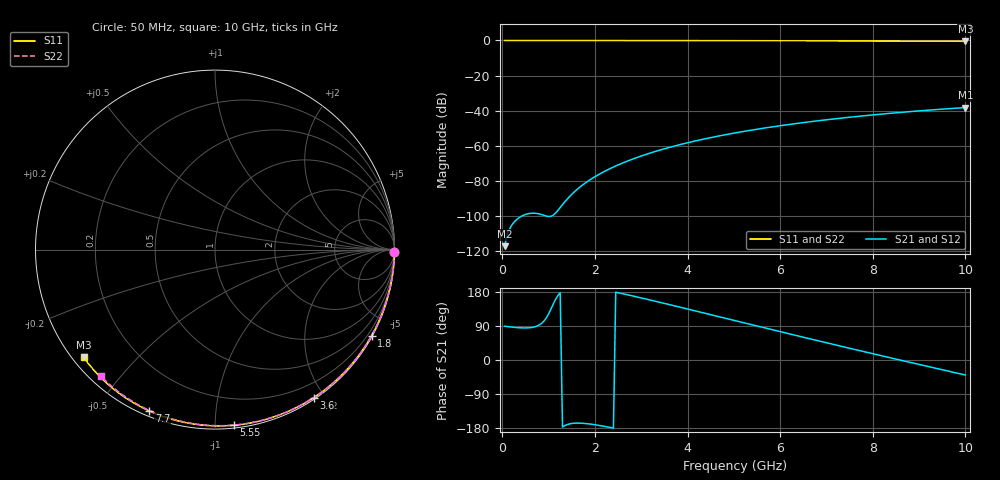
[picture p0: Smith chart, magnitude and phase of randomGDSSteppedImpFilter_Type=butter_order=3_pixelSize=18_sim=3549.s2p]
! freq	dB(S11)	phase(S11)	dB(S12)	phase(S12)
!  dB(S21)	phase(S21)	dB(S22)	phase(S22)
!S-par simulation data
#  GHz  S  DB  R 50
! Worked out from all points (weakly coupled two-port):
!   200 points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, 50 MHz to 10 GHz, reference 50 ohm
!   highest |S21| = -38.15 dB at 10 GHz (marker M1); lowest = -117.0 dB at 50 MHz (marker M2)
!   lowest |S11| = -0.5 dB at 10 GHz (marker M3), VSWR 36.36, Z = 1.55 - j17.8 ohm
!   |S11| at or under -10 dB: nowhere
!   |S22| runs from -0.4 to 0.0 dB; largest |S21 - S12| = 0
!   S11 on the Smith chart (normalised r, x): 50 MHz: open; 1.8 GHz: 0.03, -3.89; 3.6 GHz: 0.02, -1.87; 5.55 GHz: 0.02, -1.11; 7.7 GHz: 0.02, -0.67; 10 GHz: 0.03, -0.36
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0.05  -0.00 -0.8  -116.98 89.2  -116.98 89.2  -0.00 -0.8
0.45  -0.01 -7.3  -99.46 84.6  -99.46 84.6  -0.01 -6.9
0.9  -0.02 -14.6  -99.45 102.8  -99.45 102.8  -0.02 -13.6
1.75  -0.04 -28.1  -81.87 -167.1  -81.87 -167.1  -0.03 -26.3
1.8  -0.04 -28.8  -80.91 -167.6  -80.91 -167.6  -0.03 -27.0
1.85  -0.04 -29.6  -80.00 -168.3  -80.00 -168.3  -0.04 -27.7
2  -0.04 -32.0  -77.49 -170.8  -77.49 -170.8  -0.04 -29.9
2.15  -0.04 -34.3  -75.24 -173.9  -75.24 -173.9  -0.04 -32.1
2.35  -0.05 -37.4  -72.58 -178.6  -72.58 -178.6  -0.04 -35.0
2.55  -0.05 -40.5  -70.22 176.3  -70.22 176.3  -0.05 -37.9
2.95  -0.06 -46.6  -66.16 165.3  -66.16 165.3  -0.06 -43.7
3.4  -0.07 -53.3  -62.36 152.3  -62.36 152.3  -0.07 -50.0
3.6  -0.08 -56.3  -60.87 146.5  -60.87 146.5  -0.07 -52.8
4.3  -0.09 -66.5  -56.37 125.6  -56.37 125.6  -0.09 -62.4
5.05  -0.12 -77.1  -52.47 103.2  -52.47 103.2  -0.11 -72.4
5.55  -0.14 -84.0  -50.26 88.3  -50.26 88.3  -0.13 -78.9
6.1  -0.16 -91.4  -48.11 71.9  -48.11 71.9  -0.15 -85.9
6.7  -0.19 -99.3  -46.04 54.3  -46.04 54.3  -0.18 -93.3
7.7  -0.26 -112.1  -43.11 25.2  -43.11 25.2  -0.24 -105.4
8.35  -0.31 -120.3  -41.49 6.6  -41.49 6.6  -0.29 -113.0
9.2  -0.39 -130.8  -39.64 -17.3  -39.64 -17.3  -0.36 -122.9
10  -0.48 -140.7  -38.15 -39.6  -38.15 -39.6  -0.45 -132.0
